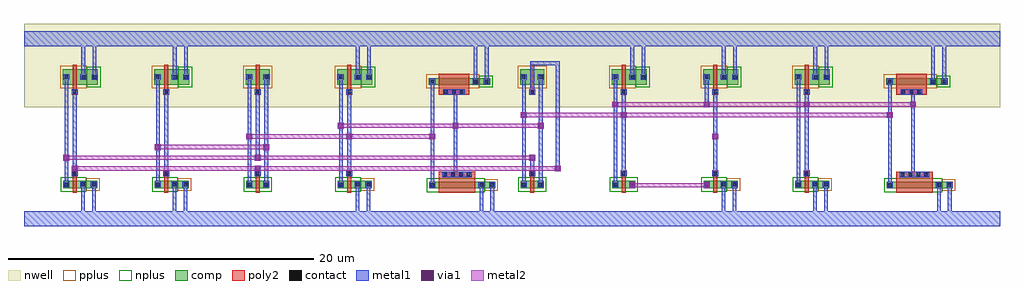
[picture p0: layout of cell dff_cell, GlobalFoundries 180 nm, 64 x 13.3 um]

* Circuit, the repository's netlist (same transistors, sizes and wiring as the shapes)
.subckt dff_cell VDD VSS clk D rst_n Q
Mx_XM1 x_clk_n clk VDD VDD pfet_03v3 L=0.28u W=1.0u nf=1 ad='int((nf+1)/2) * W/nf * 0.18u' as='int((nf+2)/2) * W/nf * 0.18u' pd='2*int((nf+1)/2) * (W/nf + 0.18u)' ps='2*int((nf+2)/2) * (W/nf + 0.18u)' nrd='0.18u / W' nrs='0.18u / W' sa=0 sb=0 sd=0
Mx_XM2 x_clk_n clk VSS VSS nfet_03v3 L=0.28u W=0.50u nf=1 ad='int((nf+1)/2) * W/nf * 0.18u' as='int((nf+2)/2) * W/nf * 0.18u' pd='2*int((nf+1)/2) * (W/nf + 0.18u)' ps='2*int((nf+2)/2) * (W/nf + 0.18u)' nrd='0.18u / W' nrs='0.18u / W' sa=0 sb=0 sd=0
Mx_XM3 x_M x_clk_n x_D_int VDD pfet_03v3 L=0.28u W=1.0u nf=1 ad='int((nf+1)/2) * W/nf * 0.18u' as='int((nf+2)/2) * W/nf * 0.18u' pd='2*int((nf+1)/2) * (W/nf + 0.18u)' ps='2*int((nf+2)/2) * (W/nf + 0.18u)' nrd='0.18u / W' nrs='0.18u / W' sa=0 sb=0 sd=0
Mx_XM4 x_D_int clk x_M VSS nfet_03v3 L=0.28u W=0.50u nf=1 ad='int((nf+1)/2) * W/nf * 0.18u' as='int((nf+2)/2) * W/nf * 0.18u' pd='2*int((nf+1)/2) * (W/nf + 0.18u)' ps='2*int((nf+2)/2) * (W/nf + 0.18u)' nrd='0.18u / W' nrs='0.18u / W' sa=0 sb=0 sd=0
Mx_XM5 x_M_bar x_M VDD VDD pfet_03v3 L=0.28u W=1.0u nf=1 ad='int((nf+1)/2) * W/nf * 0.18u' as='int((nf+2)/2) * W/nf * 0.18u' pd='2*int((nf+1)/2) * (W/nf + 0.18u)' ps='2*int((nf+2)/2) * (W/nf + 0.18u)' nrd='0.18u / W' nrs='0.18u / W' sa=0 sb=0 sd=0
Mx_XM6 x_M_bar x_M VSS VSS nfet_03v3 L=0.28u W=0.50u nf=1 ad='int((nf+1)/2) * W/nf * 0.18u' as='int((nf+2)/2) * W/nf * 0.18u' pd='2*int((nf+1)/2) * (W/nf + 0.18u)' ps='2*int((nf+2)/2) * (W/nf + 0.18u)' nrd='0.18u / W' nrs='0.18u / W' sa=0 sb=0 sd=0
Mx_XM7 x_M x_M_bar VDD VDD pfet_03v3 L=2.0u W=0.42u nf=1 ad='int((nf+1)/2) * W/nf * 0.18u' as='int((nf+2)/2) * W/nf * 0.18u' pd='2*int((nf+1)/2) * (W/nf + 0.18u)' ps='2*int((nf+2)/2) * (W/nf + 0.18u)' nrd='0.18u / W' nrs='0.18u / W' sa=0 sb=0 sd=0
Mx_XM8 x_M x_M_bar VSS VSS nfet_03v3 L=2.4u W=0.42u nf=1 ad='int((nf+1)/2) * W/nf * 0.18u' as='int((nf+2)/2) * W/nf * 0.18u' pd='2*int((nf+1)/2) * (W/nf + 0.18u)' ps='2*int((nf+2)/2) * (W/nf + 0.18u)' nrd='0.18u / W' nrs='0.18u / W' sa=0 sb=0 sd=0
Mx_XM9 x_S clk x_M_bar VDD pfet_03v3 L=0.28u W=1.0u nf=1 ad='int((nf+1)/2) * W/nf * 0.18u' as='int((nf+2)/2) * W/nf * 0.18u' pd='2*int((nf+1)/2) * (W/nf + 0.18u)' ps='2*int((nf+2)/2) * (W/nf + 0.18u)' nrd='0.18u / W' nrs='0.18u / W' sa=0 sb=0 sd=0
Mx_XM10 x_M_bar x_clk_n x_S VSS nfet_03v3 L=0.28u W=0.50u nf=1 ad='int((nf+1)/2) * W/nf * 0.18u' as='int((nf+2)/2) * W/nf * 0.18u' pd='2*int((nf+1)/2) * (W/nf + 0.18u)' ps='2*int((nf+2)/2) * (W/nf + 0.18u)' nrd='0.18u / W' nrs='0.18u / W' sa=0 sb=0 sd=0
Mx_XM11 x_Q_bar x_S VDD VDD pfet_03v3 L=0.28u W=1.0u nf=1 ad='int((nf+1)/2) * W/nf * 0.18u' as='int((nf+2)/2) * W/nf * 0.18u' pd='2*int((nf+1)/2) * (W/nf + 0.18u)' ps='2*int((nf+2)/2) * (W/nf + 0.18u)' nrd='0.18u / W' nrs='0.18u / W' sa=0 sb=0 sd=0
Mx_XM12 x_Q_bar rst_n VDD VDD pfet_03v3 L=0.28u W=1.0u nf=1 ad='int((nf+1)/2) * W/nf * 0.18u' as='int((nf+2)/2) * W/nf * 0.18u' pd='2*int((nf+1)/2) * (W/nf + 0.18u)' ps='2*int((nf+2)/2) * (W/nf + 0.18u)' nrd='0.18u / W' nrs='0.18u / W' sa=0 sb=0 sd=0
Mx_XM13 x_Q_bar x_S x_net1 VSS nfet_03v3 L=0.28u W=0.50u nf=1 ad='int((nf+1)/2) * W/nf * 0.18u' as='int((nf+2)/2) * W/nf * 0.18u' pd='2*int((nf+1)/2) * (W/nf + 0.18u)' ps='2*int((nf+2)/2) * (W/nf + 0.18u)' nrd='0.18u / W' nrs='0.18u / W' sa=0 sb=0 sd=0
Mx_XM14 x_net1 rst_n VSS VSS nfet_03v3 L=0.28u W=0.50u nf=1 ad='int((nf+1)/2) * W/nf * 0.18u' as='int((nf+2)/2) * W/nf * 0.18u' pd='2*int((nf+1)/2) * (W/nf + 0.18u)' ps='2*int((nf+2)/2) * (W/nf + 0.18u)' nrd='0.18u / W' nrs='0.18u / W' sa=0 sb=0 sd=0
Mx_XM15 Q x_Q_bar VDD VDD pfet_03v3 L=0.28u W=1.0u nf=1 ad='int((nf+1)/2) * W/nf * 0.18u' as='int((nf+2)/2) * W/nf * 0.18u' pd='2*int((nf+1)/2) * (W/nf + 0.18u)' ps='2*int((nf+2)/2) * (W/nf + 0.18u)' nrd='0.18u / W' nrs='0.18u / W' sa=0 sb=0 sd=0
Mx_XM16 Q x_Q_bar VSS VSS nfet_03v3 L=0.28u W=0.50u nf=1 ad='int((nf+1)/2) * W/nf * 0.18u' as='int((nf+2)/2) * W/nf * 0.18u' pd='2*int((nf+1)/2) * (W/nf + 0.18u)' ps='2*int((nf+2)/2) * (W/nf + 0.18u)' nrd='0.18u / W' nrs='0.18u / W' sa=0 sb=0 sd=0
Mx_XM17 x_S x_Q_bar VDD VDD pfet_03v3 L=2.0u W=0.42u nf=1 ad='int((nf+1)/2) * W/nf * 0.18u' as='int((nf+2)/2) * W/nf * 0.18u' pd='2*int((nf+1)/2) * (W/nf + 0.18u)' ps='2*int((nf+2)/2) * (W/nf + 0.18u)' nrd='0.18u / W' nrs='0.18u / W' sa=0 sb=0 sd=0
Mx_XM18 x_S x_Q_bar VSS VSS nfet_03v3 L=2.4u W=0.42u nf=1 ad='int((nf+1)/2) * W/nf * 0.18u' as='int((nf+2)/2) * W/nf * 0.18u' pd='2*int((nf+1)/2) * (W/nf + 0.18u)' ps='2*int((nf+2)/2) * (W/nf + 0.18u)' nrd='0.18u / W' nrs='0.18u / W' sa=0 sb=0 sd=0
Mx_XM19 x_D_int D VDD VDD pfet_03v3 L=0.28u W=1.0u nf=1 ad='int((nf+1)/2) * W/nf * 0.18u' as='int((nf+2)/2) * W/nf * 0.18u' pd='2*int((nf+1)/2) * (W/nf + 0.18u)' ps='2*int((nf+2)/2) * (W/nf + 0.18u)' nrd='0.18u / W' nrs='0.18u / W' sa=0 sb=0 sd=0
Mx_XM20 x_D_int D VSS VSS nfet_03v3 L=0.28u W=0.50u nf=1 ad='int((nf+1)/2) * W/nf * 0.18u' as='int((nf+2)/2) * W/nf * 0.18u' pd='2*int((nf+1)/2) * (W/nf + 0.18u)' ps='2*int((nf+2)/2) * (W/nf + 0.18u)' nrd='0.18u / W' nrs='0.18u / W' sa=0 sb=0 sd=0
.ends

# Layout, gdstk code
import gdstk
lib = gdstk.Library(unit=1e-6, precision=1e-09)
def R(c, l, rs):  # rectangles x0, y0, x1, y1
    for r in rs: c.add(gdstk.rectangle(r[:2], r[2:], *l))
def A(c, l, x, y, w, h, nx, ny, dx, dy):  # array of equal rectangles
    R(c, l, [(x+i*dx, y+j*dy, x+i*dx+w, y+j*dy+h) for i in range(nx) for j in range(ny)])
nwell = (21, 0)
comp = (22, 0)
poly2 = (30, 0)
pplus = (31, 0)
nplus = (32, 0)
contact = (33, 0)
metal1 = (34, 0)
via1 = (35, 0)
metal2 = (36, 0)

gf180mcu_nfet_l_0_280_w_ = lib.new_cell('gf180mcu.nfet(L=0.280,W=0.500)')

c_gf180mcu_nfet_l_0_280_w_ = lib.new_cell('gf180mcu.nfet(L=0.280,W=1.000)')

gf180mcu_pfet_l_0_280_w_ = lib.new_cell('gf180mcu.pfet(L=0.280,W=1.000)')

c_gf180mcu_pfet_l_0_280_w_ = lib.new_cell('gf180mcu.pfet(L=0.280,W=2.000)')

dff_cell = lib.new_cell('dff_cell')
A(dff_cell, nwell, 37.85, 6.11, 3.69, 2.38, 3, 1, 6, 0)
R(dff_cell, nwell, [(0,5.3,64,10.8), (25.84,6.09,31.27,7.93), (55.84,6.09,61.27,7.93), (1.85,6.11,5.54,8.49), (7.85,6.11,11.54,8.49), (19.85,6.11,23.54,8.49), (14.1,6.36,16.56,8.24), (32.1,6.36,34.56,8.24)])
A(dff_cell, comp, 3, 0, 0.66, 0.5, 4, 1, 6, 0)
A(dff_cell, comp, 33, 0, 0.66, 0.5, 4, 1, 6, 0)
A(dff_cell, comp, 3, 6.8, 0.66, 1, 4, 1, 6, 0)
A(dff_cell, comp, 33, 6.8, 0.66, 1, 4, 1, 6, 0)
A(dff_cell, comp, 40.12, 6.8, 0.73, 1, 3, 1, 6, 0)
R(dff_cell, comp, [(26.58,-0.01,27,0.43), (29.78,-0.01,30.2,0.43), (30.2,-0.01,30.91,0.43), (56.58,-0.01,57,0.43), (59.78,-0.01,60.2,0.43), (60.2,-0.01,60.91,0.43), (2.58,0,3,0.5), (3.66,0,4.08,0.5), (4.08,0,4.79,0.5), (8.58,0,9,0.5), (9.66,0,10.08,0.5), (10.08,0,10.79,0.5), (14.58,0,15,0.5), (15.66,0,16.08,0.5), (20.58,0,21,0.5), (21.66,0,22.08,0.5), (22.08,0,22.79,0.5), (27,0,29.78,0.42), (32.58,0,33,0.5), (33.66,0,34.08,0.5), (38.58,0,39,0.5), (39.66,0,40.08,0.5), (44.58,0,45,0.5), (45.66,0,46.08,0.5), (46.08,0,46.79,0.5), (50.58,0,51,0.5), (51.66,0,52.08,0.5), (52.08,0,52.79,0.5), (57,0,59.78,0.42), (26.54,6.79,27,7.23), (29.38,6.79,29.84,7.23), (29.84,6.79,30.57,7.23), (56.54,6.79,57,7.23), (59.38,6.79,59.84,7.23), (59.84,6.79,60.57,7.23), (2.54,6.8,3,7.8), (3.66,6.8,4.12,7.8), (4.12,6.8,4.85,7.8), (8.54,6.8,9,7.8), (9.66,6.8,10.12,7.8), (10.12,6.8,10.85,7.8), (14.54,6.8,15,7.8), (15.66,6.8,16.12,7.8), (20.54,6.8,21,7.8), (21.66,6.8,22.12,7.8), (22.12,6.8,22.85,7.8), (27,6.8,29.38,7.22), (32.54,6.8,33,7.8), (33.66,6.8,34.12,7.8), (38.54,6.8,39,7.8), (39.66,6.8,40.12,7.8), (44.54,6.8,45,7.8), (45.66,6.8,46.12,7.8), (50.54,6.8,51,7.8), (51.66,6.8,52.12,7.8), (57,6.8,59.38,7.22)])
A(dff_cell, poly2, 3.19, -0.3, 0.28, 1.1, 4, 1, 6, 0)
A(dff_cell, poly2, 33.19, -0.3, 0.28, 1.1, 4, 1, 6, 0)
A(dff_cell, poly2, 3.15, 0.8, 0.36, 0.36, 4, 1, 6, 0)
A(dff_cell, poly2, 33.15, 0.8, 0.36, 0.36, 4, 1, 6, 0)
A(dff_cell, poly2, 3.14, 6.12, 0.38, 0.38, 4, 1, 6, 0)
A(dff_cell, poly2, 33.14, 6.12, 0.38, 0.38, 4, 1, 6, 0)
A(dff_cell, poly2, 3.19, 6.5, 0.28, 1.6, 4, 1, 6, 0)
A(dff_cell, poly2, 33.19, 6.5, 0.28, 1.6, 4, 1, 6, 0)
R(dff_cell, poly2, [(27.19,-0.3,29.59,0.72), (57.19,-0.3,59.59,0.72), (27.19,0.72,29.59,1.08), (57.19,0.72,59.59,1.08), (27.19,6.12,29.19,6.5), (57.19,6.12,59.19,6.5), (27.19,6.5,29.19,7.52), (57.19,6.5,59.19,7.52)])
A(dff_cell, pplus, 38.37, 6.56, 1.75, 1.48, 3, 1, 6, 0)
R(dff_cell, pplus, [(4.08,-0.17,4.96,0.67), (10.08,-0.17,10.96,0.67), (22.08,-0.17,22.96,0.67), (30.2,-0.17,31.08,0.59), (46.08,-0.17,46.96,0.67), (52.08,-0.17,52.96,0.67), (60.2,-0.17,61.08,0.59), (26.37,6.55,29.84,7.47), (56.37,6.55,59.84,7.47), (2.37,6.56,4.12,8.04), (8.37,6.56,10.12,8.04), (14.37,6.56,16.29,8.04), (20.37,6.56,22.12,8.04), (32.37,6.56,34.29,8.04)])
A(dff_cell, nplus, 40.12, 6.63, 0.9, 1.34, 3, 1, 6, 0)
R(dff_cell, nplus, [(26.41,-0.25,30.2,0.67), (56.41,-0.25,60.2,0.67), (2.41,-0.24,4.08,0.74), (8.41,-0.24,10.08,0.74), (14.41,-0.24,16.25,0.74), (20.41,-0.24,22.08,0.74), (32.41,-0.24,34.25,0.74), (38.41,-0.24,40.25,0.74), (44.41,-0.24,46.08,0.74), (50.41,-0.24,52.08,0.74), (4.12,6.63,5.02,7.97), (10.12,6.63,11.02,7.97), (22.12,6.63,23.02,7.97), (29.84,6.63,30.74,7.39), (59.84,6.63,60.74,7.39)])
A(dff_cell, contact, 27.515, 0.79, 0.22, 0.22, 4, 1, 0.51, 0)
A(dff_cell, contact, 57.515, 0.79, 0.22, 0.22, 4, 1, 0.51, 0)
A(dff_cell, contact, 3.22, 0.87, 0.22, 0.22, 4, 2, 6, 5.33)
A(dff_cell, contact, 33.22, 0.87, 0.22, 0.22, 4, 2, 6, 5.33)
A(dff_cell, contact, 27.57, 6.2, 0.22, 0.22, 3, 1, 0.51, 0)
A(dff_cell, contact, 57.57, 6.2, 0.22, 0.22, 3, 1, 0.51, 0)
R(dff_cell, contact, [(26.68,0.1,26.9,0.32), (29.88,0.1,30.1,0.32), (30.59,0.1,30.81,0.32), (56.68,0.1,56.9,0.32), (59.88,0.1,60.1,0.32), (60.59,0.1,60.81,0.32), (2.68,0.14,2.9,0.36), (3.76,0.14,3.98,0.36), (4.47,0.14,4.69,0.36), (8.68,0.14,8.9,0.36), (9.76,0.14,9.98,0.36), (10.47,0.14,10.69,0.36), (14.68,0.14,14.9,0.36), (15.76,0.14,15.98,0.36), (20.68,0.14,20.9,0.36), (21.76,0.14,21.98,0.36), (22.47,0.14,22.69,0.36), (32.68,0.14,32.9,0.36), (33.76,0.14,33.98,0.36), (38.68,0.14,38.9,0.36), (39.76,0.14,39.98,0.36), (44.68,0.14,44.9,0.36), (45.76,0.14,45.98,0.36), (46.47,0.14,46.69,0.36), (50.68,0.14,50.9,0.36), (51.76,0.14,51.98,0.36), (52.47,0.14,52.69,0.36), (26.66,6.9,26.88,7.12), (29.5,6.9,29.72,7.12), (30.23,6.9,30.45,7.12), (56.66,6.9,56.88,7.12), (59.5,6.9,59.72,7.12), (60.23,6.9,60.45,7.12), (2.66,7.19,2.88,7.41), (3.78,7.19,4,7.41), (4.51,7.19,4.73,7.41), (8.66,7.19,8.88,7.41), (9.78,7.19,10,7.41), (10.51,7.19,10.73,7.41), (14.66,7.19,14.88,7.41), (15.78,7.19,16,7.41), (20.66,7.19,20.88,7.41), (21.78,7.19,22,7.41), (22.51,7.19,22.73,7.41), (32.66,7.19,32.88,7.41), (33.78,7.19,34,7.41), (38.66,7.19,38.88,7.41), (39.78,7.19,40,7.41), (40.51,7.19,40.73,7.41), (44.66,7.19,44.88,7.41), (45.78,7.19,46,7.41), (46.51,7.19,46.73,7.41), (50.66,7.19,50.88,7.41), (51.78,7.19,52,7.41), (52.51,7.19,52.73,7.41)])
A(dff_cell, metal1, 2.66, 0.25, 0.24, 7.05, 3, 1, 6, 0)
A(dff_cell, metal1, 3.14, 0.79, 0.38, 0.38, 4, 2, 6, 5.33)
A(dff_cell, metal1, 33.14, 0.79, 0.38, 0.38, 4, 2, 6, 5.33)
R(dff_cell, metal1, [(0,-2.5,64,-1.5), (3.75,-2.5,3.99,0.25), (4.46,-2.5,4.7,0.25), (9.75,-2.5,9.99,0.25), (10.46,-2.5,10.7,0.25), (21.75,-2.5,21.99,0.25), (22.46,-2.5,22.7,0.25), (29.87,-2.5,30.11,0.21), (30.58,-2.5,30.82,0.21), (45.75,-2.5,45.99,0.25), (46.46,-2.5,46.7,0.25), (51.75,-2.5,51.99,0.25), (52.46,-2.5,52.7,0.25), (59.87,-2.5,60.11,0.21), (60.58,-2.5,60.82,0.21), (39.68,0.01,40.06,0.39), (44.6,0.01,44.98,0.39), (26.6,0.02,26.98,0.4), (29.8,0.02,30.18,0.4), (30.51,0.02,30.89,0.4), (56.6,0.02,56.98,0.4), (59.8,0.02,60.18,0.4), (60.51,0.02,60.89,0.4), (2.6,0.06,2.98,0.44), (3.68,0.06,4.06,0.44), (4.39,0.06,4.77,0.44), (8.6,0.06,8.98,0.44), (9.68,0.06,10.06,0.44), (10.39,0.06,10.77,0.44), (14.6,0.06,14.98,0.44), (15.68,0.06,16.06,0.44), (20.6,0.06,20.98,0.44), (21.68,0.06,22.06,0.44), (22.39,0.06,22.77,0.44), (32.6,0.06,32.98,0.44), (33.68,0.06,34.06,0.44), (38.6,0.06,38.98,0.44), (39.68,0.06,40.06,0.44), (44.6,0.06,44.98,0.44), (45.68,0.06,46.06,0.44), (46.39,0.06,46.77,0.44), (50.6,0.06,50.98,0.44), (51.68,0.06,52.06,0.44), (52.39,0.06,52.77,0.44), (39.75,0.2,39.99,0.25), (44.67,0.2,44.91,0.25), (26.66,0.21,26.9,7.01), (56.66,0.21,56.9,7.01), (15.76,0.25,16,7.3), (20.66,0.25,20.9,7.3), (32.66,0.25,32.9,7.3), (33.76,0.25,34,7.3), (38.66,0.25,38.9,7.3), (50.66,0.25,50.9,7.3), (27.435,0.71,29.345,1.09), (57.435,0.71,59.345,1.09), (28.17,0.9,28.41,6.31), (58.17,0.9,58.41,6.31), (3.21,0.98,3.45,6.31), (9.21,0.98,9.45,6.31), (15.21,0.98,15.45,1.3), (21.21,0.98,21.45,6.31), (33.21,0.98,33.45,2), (39.21,0.98,39.45,4.8), (45.21,0.98,45.45,3.4), (51.21,0.98,51.45,6.31), (3.14,1.11,3.52,1.49), (15.14,1.11,15.52,1.49), (34.81,1.11,35.19,1.49), (34.88,1.3,35.12,8.32), (2.59,1.81,2.97,2.19), (15.14,1.81,15.52,2.19), (33.14,1.81,33.52,2.19), (15.21,2,15.45,6.31), (8.59,2.51,8.97,2.89), (15.69,2.51,16.07,2.89), (14.59,3.21,14.97,3.59), (21.14,3.21,21.52,3.59), (26.59,3.21,26.97,3.59), (45.14,3.21,45.52,3.59), (45.14,3.21,45.52,3.59), (45.21,3.4,45.45,6.31), (20.59,3.91,20.97,4.29), (28.1,3.91,28.48,4.29), (33.69,3.91,34.07,4.29), (32.59,4.61,32.97,4.99), (39.14,4.61,39.52,4.99), (39.14,4.61,39.52,4.99), (56.59,4.61,56.97,4.99), (39.21,4.8,39.45,6.31), (38.59,5.31,38.97,5.69), (44.58,5.31,44.96,5.69), (51.14,5.31,51.52,5.69), (58.1,5.31,58.48,5.69), (44.65,5.5,44.89,7.3), (27.49,6.12,28.89,6.5), (57.49,6.12,58.89,6.5), (33.21,6.31,33.45,8.32), (26.58,6.82,26.96,7.2), (29.42,6.82,29.8,7.2), (30.15,6.82,30.53,7.2), (56.58,6.82,56.96,7.2), (59.42,6.82,59.8,7.2), (60.15,6.82,60.53,7.2), (29.49,7.01,29.73,10.3), (30.22,7.01,30.46,10.3), (59.49,7.01,59.73,10.3), (60.22,7.01,60.46,10.3), (2.58,7.11,2.96,7.49), (3.7,7.11,4.08,7.49), (4.43,7.11,4.81,7.49), (8.58,7.11,8.96,7.49), (9.7,7.11,10.08,7.49), (10.43,7.11,10.81,7.49), (14.58,7.11,14.96,7.49), (15.7,7.11,16.08,7.49), (20.58,7.11,20.96,7.49), (21.7,7.11,22.08,7.49), (22.43,7.11,22.81,7.49), (32.58,7.11,32.96,7.49), (33.7,7.11,34.08,7.49), (38.58,7.11,38.96,7.49), (39.7,7.11,40.08,7.49), (40.43,7.11,40.81,7.49), (44.58,7.11,44.96,7.49), (45.7,7.11,46.08,7.49), (46.43,7.11,46.81,7.49), (50.58,7.11,50.96,7.49), (51.7,7.11,52.08,7.49), (52.43,7.11,52.81,7.49), (3.77,7.3,4.01,10.3), (4.5,7.3,4.74,10.3), (9.77,7.3,10.01,10.3), (10.5,7.3,10.74,10.3), (21.77,7.3,22.01,10.3), (22.5,7.3,22.74,10.3), (39.77,7.3,40.01,10.3), (40.5,7.3,40.74,10.3), (45.77,7.3,46.01,10.3), (46.5,7.3,46.74,10.3), (51.77,7.3,52.01,10.3), (52.5,7.3,52.74,10.3), (33.21,8.08,35.12,8.32), (0,9.3,64,10.3)])
R(dff_cell, via1, [(39.74,0.07,40,0.33), (44.66,0.07,44.92,0.33), (3.2,1.17,3.46,1.43), (15.2,1.17,15.46,1.43), (34.87,1.17,35.13,1.43), (2.65,1.87,2.91,2.13), (15.2,1.87,15.46,2.13), (33.2,1.87,33.46,2.13), (8.65,2.57,8.91,2.83), (15.75,2.57,16.01,2.83), (14.65,3.27,14.91,3.53), (21.2,3.27,21.46,3.53), (26.65,3.27,26.91,3.53), (45.2,3.27,45.46,3.53), (45.2,3.27,45.46,3.53), (20.65,3.97,20.91,4.23), (28.16,3.97,28.42,4.23), (33.75,3.97,34.01,4.23), (32.65,4.67,32.91,4.93), (39.2,4.67,39.46,4.93), (39.2,4.67,39.46,4.93), (56.65,4.67,56.91,4.93), (38.65,5.37,38.91,5.63), (44.64,5.37,44.9,5.63), (51.2,5.37,51.46,5.63), (58.16,5.37,58.42,5.63)])
R(dff_cell, metal2, [(39.68,0.01,40.06,0.39), (44.6,0.01,44.98,0.39), (39.68,0.06,44.98,0.34), (3.14,1.11,3.52,1.49), (15.14,1.11,15.52,1.49), (34.81,1.11,35.19,1.49), (3.14,1.16,35.19,1.44), (2.59,1.81,2.97,2.19), (15.14,1.81,15.52,2.19), (33.14,1.81,33.52,2.19), (2.59,1.86,33.52,2.14), (8.59,2.51,8.97,2.89), (15.69,2.51,16.07,2.89), (8.59,2.56,16.07,2.84), (14.59,3.21,14.97,3.59), (21.14,3.21,21.52,3.59), (26.59,3.21,26.97,3.59), (45.14,3.21,45.52,3.59), (45.14,3.21,45.52,3.59), (14.59,3.26,26.97,3.54), (45.14,3.26,45.52,3.54), (20.59,3.91,20.97,4.29), (28.1,3.91,28.48,4.29), (33.69,3.91,34.07,4.29), (20.59,3.96,34.07,4.24), (32.59,4.61,32.97,4.99), (39.14,4.61,39.52,4.99), (39.14,4.61,39.52,4.99), (56.59,4.61,56.97,4.99), (32.59,4.66,56.97,4.94), (38.59,5.31,38.97,5.69), (44.58,5.31,44.96,5.69), (51.14,5.31,51.52,5.69), (58.1,5.31,58.48,5.69), (38.59,5.36,58.48,5.64)])
dff_cell.add(gdstk.Reference(gf180mcu_nfet_l_0_280_w_, (0,0)))
dff_cell.add(gdstk.Reference(c_gf180mcu_nfet_l_0_280_w_, (0,0)))
dff_cell.add(gdstk.Reference(gf180mcu_pfet_l_0_280_w_, (0,0)))
dff_cell.add(gdstk.Reference(c_gf180mcu_pfet_l_0_280_w_, (0,0)))

lib.write_gds('dff_cell.gds')
